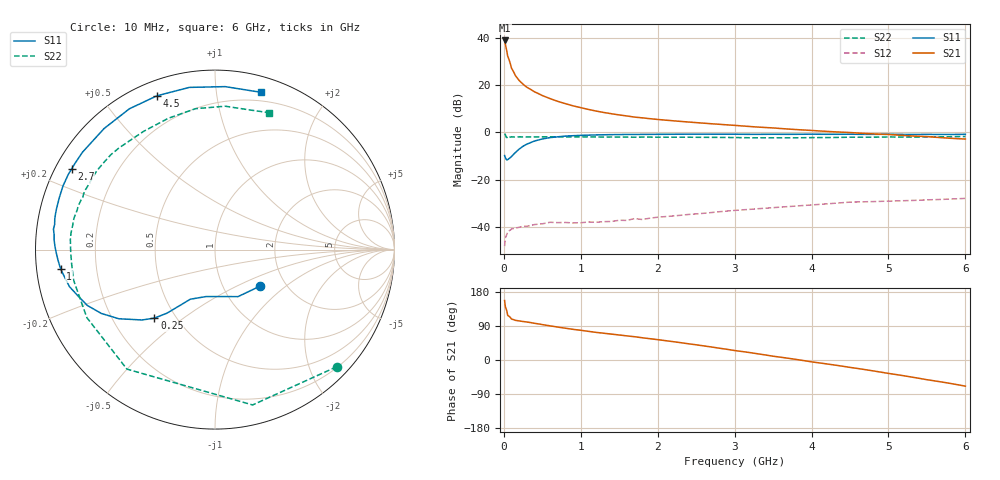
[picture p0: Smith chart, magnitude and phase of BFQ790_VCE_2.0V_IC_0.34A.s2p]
! (c) 2015  Infineon Technologies AG, Munich
! Infineon Technologies  Discrete & RF Semiconductors
! BFQ790
! VCE =  2.0 V,  IC = 0.34 A
! Common Emitter S-Parameters:  May 2015
# GHz  S  MA  R  50
!  f  S11  S21  S12  S22
! GHz  MAG  ANG  MAG  ANG  MAG  ANG  MAG  ANG
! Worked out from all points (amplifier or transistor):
!   77 points, 10 MHz to 6 GHz, reference 50 ohm
!   highest |S21| = 39.0 dB at 10 MHz (marker M1)
!   |S21| within 3 dB of that: start of sweep to 29.02 MHz
!   unconditionally stable (mu >= 1): 192.3 MHz to end of sweep
!   at 130 MHz: K = 0.80, MSG = 33.1 dB, |S12| = -40.7 dB
!   at 2.2 GHz: K = 1.34, MAG = 16.7 dB, |S12| = -35.4 dB
!   at 6 GHz: K = 1.08, MAG = 10.9 dB, |S12| = -27.9 dB
!   S11 on the Smith chart (normalised r, x): 10 MHz: 1.49, -0.68; 250 MHz: 0.38, -0.39; 1 GHz: 0.07, -0.06; 2.7 GHz: 0.05, +0.26; 4.5 GHz: 0.06, +0.69; 6 GHz: 0.13, +1.33
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0.01  0.3235 -38.9  88.65 156.9  0.0039 66.2  0.9412 -43.9
0.02  0.2917 -63.9  73.17 140.3  0.0058 48.7  0.8905 -76.4
0.05  0.266 -100.7  41.3 117.7  0.0078 27.3  0.8272 -126.4
0.1  0.309 -116.5  22.86 107.9  0.009 19.1  0.8082 -152.0
0.15  0.3748 -122.7  15.99 104.7  0.0094 17.9  0.8002 -162.5
0.2  0.4442 -127.1  12.55 103.1  0.0098 20.9  0.806 -167.9
0.25  0.5099 -131.5  10.48 101.6  0.0103 14.8  0.8031 -171.5
0.3  0.5656 -136.1  9.027 100.2  0.0103 14.0  0.8027 -174.5
0.4  0.6592 -144.2  7.228 96.8  0.0112 15.5  0.8039 -178.6
0.5  0.7265 -150.7  6.038 93.4  0.0116 13.2  0.8054 178.4
0.7  0.8069 -161.5  4.551 86.9  0.0123 15.2  0.8074 173.6
0.9  0.8522 -169.7  3.656 80.9  0.0121 12.8  0.8041 170.2
1  0.8669 -172.9  3.346 78.4  0.0122 13.3  0.8054 168.4
1.1  0.8768 -176.2  3.066 75.6  0.0127 14.5  0.8039 166.7
1.5  0.9003 174.6  2.345 66.0  0.0138 18.0  0.7976 161.0
2.1  0.9127 163.5  1.821 51.1  0.0165 17.9  0.7918 152.1
2.7  0.9166 150.7  1.526 34.3  0.0201 13.9  0.7856 140.1
3.1  0.9132 141.5  1.371 22.3  0.0229 8.7  0.7745 131.0
4.1  0.9152 119.2  1.075 -7.6  0.0299 -6.7  0.7771 107.2
4.5  0.9159 110.7  0.995 -19.5  0.0334 -14.6  0.7926 97.8
5.1  0.9104 96.5  0.882 -38.4  0.0354 -27.2  0.7991 83.9
6  0.913 73.7  0.724 -69.0  0.0401 -49.3  0.82 68.5
